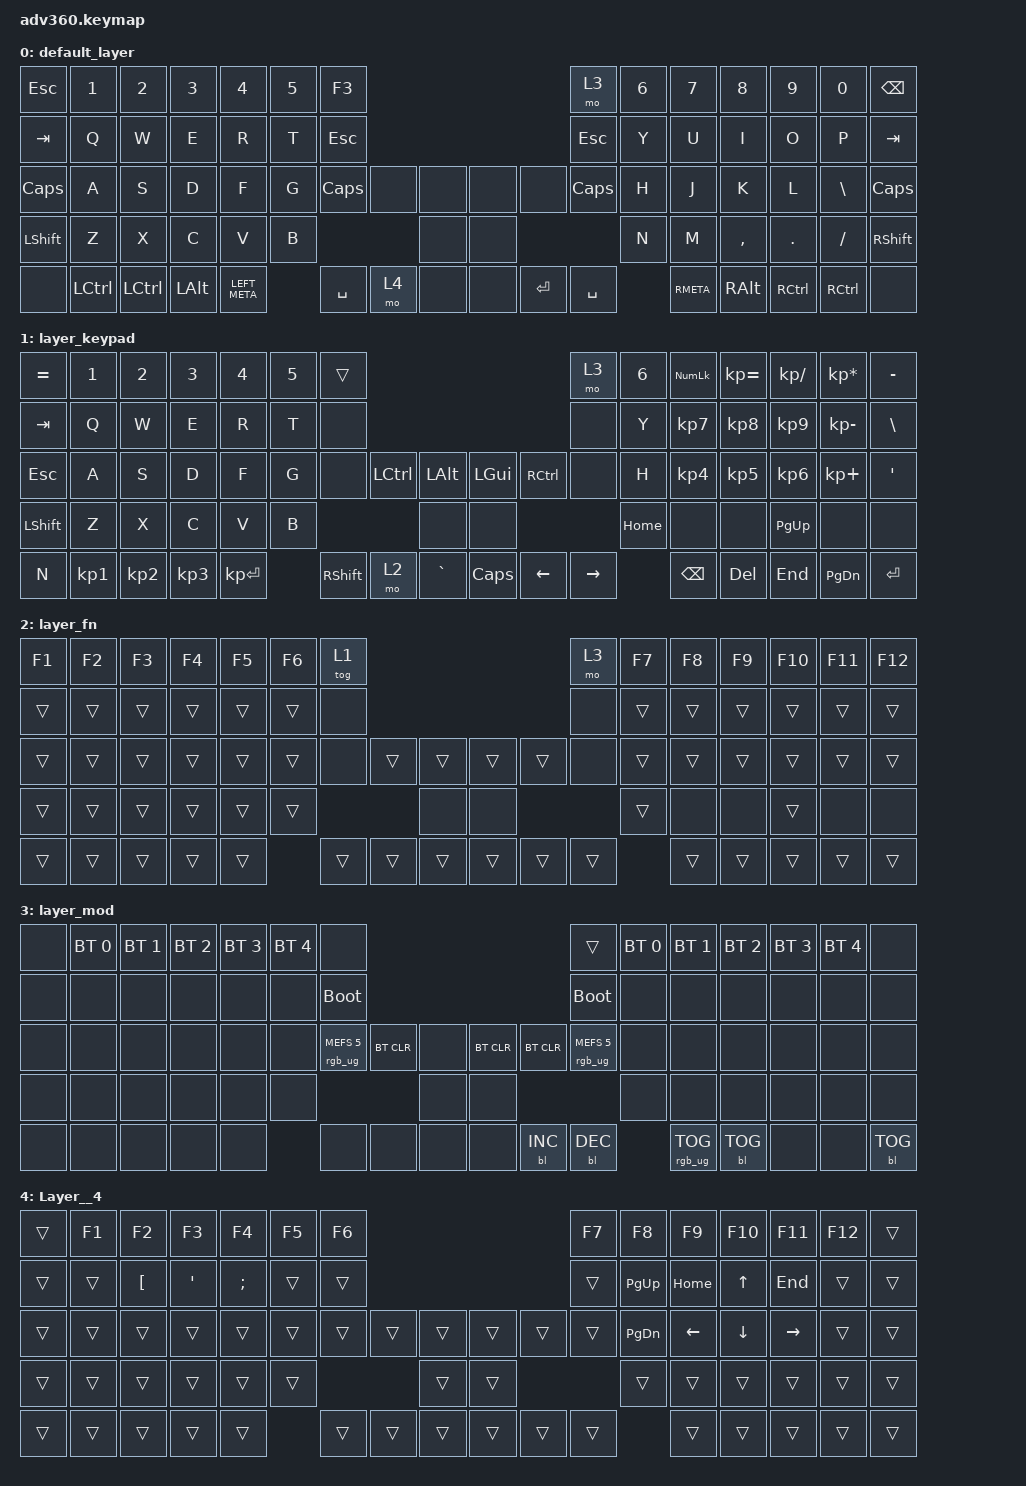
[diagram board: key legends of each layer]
#include <behaviors.dtsi>
#include <dt-bindings/zmk/keys.h>
#include <dt-bindings/zmk/bt.h>
#include <dt-bindings/zmk/rgb.h>
#include <dt-bindings/zmk/stp.h>
#include <dt-bindings/zmk/backlight.h>
#include <dt-bindings/zmk/pointing.h>

/ {
    behaviors {
      #include "macros.dtsi"
      #include "version.dtsi"

      hm: homerow_mods {
          compatible = "zmk,behavior-hold-tap";
          label = "HOMEROW_MODS";
          #binding-cells = <2>;
          tapping-term-ms = <200>;
          quick_tap_ms = <175>;
          flavor = "tap-preferred";
          bindings = <&kp>, <&kp>;
      };
    };

    keymap {
        compatible = "zmk,keymap";

        default_layer {
            bindings = <
&kp ESC       &kp N1            &kp N2            &kp N3        &kp N4         &kp N5  &kp F3                                          &mo 3       &kp N6  &kp N7     &kp N8         &kp N9             &kp N0             &kp BACKSPACE
&kp TAB       &kp Q             &kp W             &kp E         &kp R          &kp T   &kp ESC                                         &kp ESCAPE  &kp Y   &kp U      &kp I          &kp O              &kp P              &kp TAB
&kp CAPSLOCK  &kp A             &kp S             &kp D         &kp F          &kp G   &kp CAPS   &none  &none      &none  &none       &kp CAPS    &kp H   &kp J      &kp K          &kp L              &kp BACKSLASH      &kp CAPSLOCK
&kp LSHFT     &kp Z             &kp X             &kp C         &kp V          &kp B                     &none      &none                          &kp N   &kp M      &kp COMMA      &kp DOT            &kp SLASH          &kp RIGHT_SHIFT
&none         &kp LEFT_CONTROL  &kp LEFT_CONTROL  &kp LEFT_ALT  &kp LEFT_META          &kp SPACE  &mo 4  &none      &none  &kp RETURN  &kp SPACE           &kp RMETA  &kp RIGHT_ALT  &kp RIGHT_CONTROL  &kp RIGHT_CONTROL  &none
            >;
        };

        layer_keypad {
            bindings = <
&kp EQUAL  &kp N1     &kp N2     &kp N3     &kp N4        &kp N5  &trans                                                    &mo 3      &kp N6    &kp KP_NUM  &kp KP_EQUAL  &kp KP_DIVIDE  &kp KP_MULTIPLY  &kp MINUS
&kp TAB    &kp Q      &kp W      &kp E      &kp R         &kp T   &none                                                     &none      &kp Y     &kp KP_N7   &kp KP_N8     &kp KP_N9      &kp KP_MINUS     &kp BSLH
&kp ESC    &kp A      &kp S      &kp D      &kp F         &kp G   &none      &kp LCTRL  &kp LALT       &kp LGUI  &kp RCTRL  &none      &kp H     &kp KP_N4   &kp KP_N5     &kp KP_N6      &kp KP_PLUS      &kp SQT
&kp LSHFT  &kp Z      &kp X      &kp C      &kp V         &kp B                         &none          &none                           &kp HOME  &none       &none         &kp PG_UP      &none            &none
&kp N      &kp KP_N1  &kp KP_N2  &kp KP_N3  &kp KP_ENTER          &kp RSHFT  &mo 2      &kp GRAVE      &kp CAPS  &kp LEFT   &kp RIGHT            &kp BSPC    &kp DEL       &kp END        &kp PG_DN        &kp ENTER
            >;
        };

        layer_fn {
            bindings = <
&kp F1  &kp F2  &kp F3  &kp F4  &kp F5  &kp F6  &tog 1                                      &mo 3   &kp F7  &kp F8  &kp F9  &kp F10  &kp F11  &kp F12
&trans  &trans  &trans  &trans  &trans  &trans  &none                                       &none   &trans  &trans  &trans  &trans   &trans   &trans
&trans  &trans  &trans  &trans  &trans  &trans  &none   &trans  &trans      &trans  &trans  &none   &trans  &trans  &trans  &trans   &trans   &trans
&trans  &trans  &trans  &trans  &trans  &trans                  &none       &none                   &trans  &none   &none   &trans   &none    &none
&trans  &trans  &trans  &trans  &trans          &trans  &trans  &trans      &trans  &trans  &trans          &trans  &trans  &trans   &trans   &trans
            >;
        };

        layer_mod {
            bindings = <
&none  &bt BT_SEL 0  &bt BT_SEL 1  &bt BT_SEL 2  &bt BT_SEL 3  &bt BT_SEL 4  &none                                                                  &trans                  &bt BT_SEL 0  &bt BT_SEL 1     &bt BT_SEL 2  &bt BT_SEL 3  &bt BT_SEL 4  &none
&none  &none         &none         &none         &none         &none         &bootloader                                                            &bootloader             &none         &none            &none         &none         &none         &none
&none  &none         &none         &none         &none         &none         &rgb_ug RGB_MEFS_CMD 5  &bt BT_CLR  &none      &bt BT_CLR  &bt BT_CLR  &rgb_ug RGB_MEFS_CMD 5  &none         &none            &none         &none         &none         &none
&none  &none         &none         &none         &none         &none                                             &none      &none                                           &none         &none            &none         &none         &none         &none
&none  &none         &none         &none         &none                       &none                   &none       &none      &none       &bl BL_INC  &bl BL_DEC                            &rgb_ug RGB_TOG  &bl BL_TOG    &none         &none         &bl BL_TOG
            >;
        };

        Layer__4 {
            bindings = <
&trans  &kp F1  &kp F2            &kp F3   &kp F4         &kp F5  &kp F6                                      &kp F7  &kp F8         &kp F9          &kp F10         &kp F11          &kp F12  &trans
&trans  &trans  &kp LEFT_BRACKET  &kp SQT  &kp SEMICOLON  &trans  &trans                                      &trans  &kp PAGE_UP    &kp HOME        &kp UP_ARROW    &kp END          &trans   &trans
&trans  &trans  &trans            &trans   &trans         &trans  &trans  &trans  &trans      &trans  &trans  &trans  &kp PAGE_DOWN  &kp LEFT_ARROW  &kp DOWN_ARROW  &kp RIGHT_ARROW  &trans   &trans
&trans  &trans  &trans            &trans   &trans         &trans                  &trans      &trans                  &trans         &trans          &trans          &trans           &trans   &trans
&trans  &trans  &trans            &trans   &trans                 &trans  &trans  &trans      &trans  &trans  &trans                 &trans          &trans          &trans           &trans   &trans
            >;
        };
    };
};
